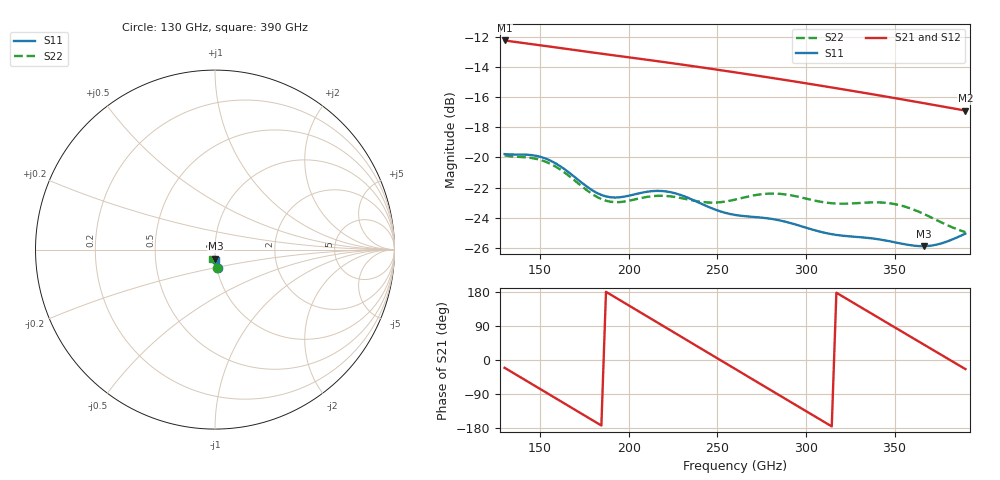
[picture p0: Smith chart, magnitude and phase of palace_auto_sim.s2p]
#  GHZ S DB R 50
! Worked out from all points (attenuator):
!   101 points, 130 GHz to 390 GHz, reference 50 ohm
!   highest |S21| = -12.24 dB at 130 GHz (marker M1); lowest = -16.9 dB at 390 GHz (marker M2)
!   lowest |S11| = -25.9 dB at 366.6 GHz (marker M3), VSWR 1.11, Z = 49.9 - j5.08 ohm
!   |S11| at or under -10 dB: start of sweep to end of sweep
!   |S22| runs from -25.0 to -19.9 dB; largest |S21 - S12| = 2.7e-14
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130  -19.78 -79.9  -12.24 -20.6  -12.24 -20.6  -19.86 -82.1
143  -19.83 -80.8  -12.45 -56.8  -12.45 -56.8  -20.01 -82.5
153.4  -20.09 -84.5  -12.62 -85.8  -12.62 -85.8  -20.30 -85.8
163.8  -20.78 -88.2  -12.78 -114.8  -12.78 -114.8  -21.00 -89.1
174.2  -21.74 -89.2  -12.95 -143.9  -12.95 -143.9  -21.98 -89.8
184.6  -22.49 -86.8  -13.12 -172.9  -13.12 -172.9  -22.77 -87.0
195  -22.65 -83.4  -13.28 158.1  -13.28 158.1  -22.96 -83.0
208  -22.33 -83.1  -13.49 121.8  -13.49 121.8  -22.67 -81.5
218.4  -22.23 -86.0  -13.65 92.8  -13.65 92.8  -22.55 -83.0
228.8  -22.47 -89.5  -13.82 63.7  -13.82 63.7  -22.68 -84.8
241.8  -23.12 -92.1  -14.04 27.5  -14.04 27.5  -22.96 -85.2
260  -23.82 -91.7  -14.36 -23.3  -14.36 -23.3  -22.80 -84.6
280.8  -24.09 -92.6  -14.73 -81.3  -14.73 -81.3  -22.40 -89.4
291.2  -24.35 -93.7  -14.92 -110.2  -14.92 -110.2  -22.51 -92.7
304.2  -24.81 -94.1  -15.16 -146.4  -15.16 -146.4  -22.85 -95.5
314.6  -25.09 -93.3  -15.36 -175.3  -15.36 -175.3  -23.04 -96.4
325  -25.24 -92.4  -15.57 155.9  -15.57 155.9  -23.06 -97.4
338  -25.38 -92.0  -15.82 119.8  -15.82 119.8  -22.98 -100.1
348.4  -25.59 -91.6  -16.03 91.0  -16.03 91.0  -23.06 -103.6
366.6  -25.89 -88.0  -16.41 40.6  -16.41 40.6  -23.76 -109.2
377  -25.69 -84.9  -16.62 11.9  -16.62 11.9  -24.34 -110.6
390  -25.06 -83.1  -16.90 -24.0  -16.90 -24.0  -24.96 -110.1
